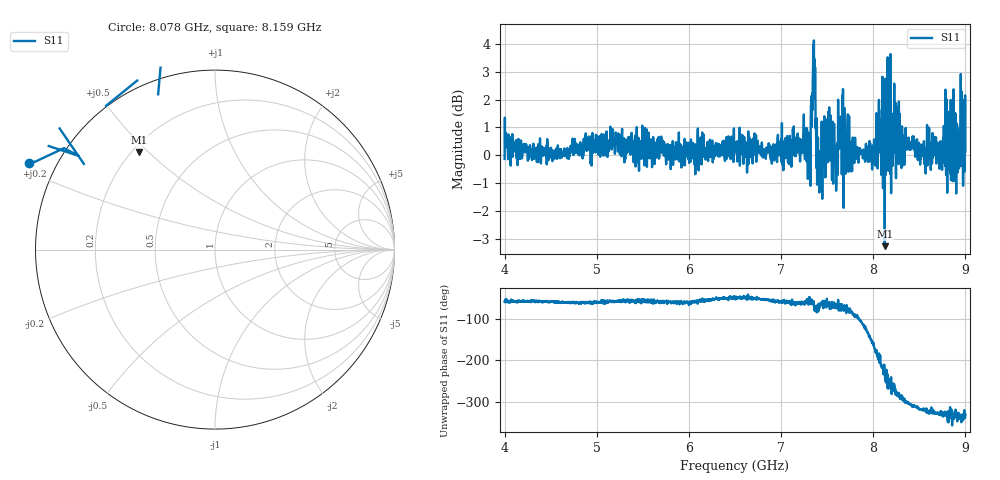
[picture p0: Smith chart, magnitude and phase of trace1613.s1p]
! Created with skrf 1.8.0 (http://scikit-rf.org).
# Hz S RI R 50.0
!freq ReS11 ImS11
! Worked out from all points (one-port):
!   1601 points, 4 GHz to 9 GHz, reference 50 ohm
!   lowest |S11| = -3.3 dB at 8.125 GHz (marker M1), VSWR 5.37, Z = 11.4 + j23.4 ohm
!   |S11| at or under -10 dB: nowhere
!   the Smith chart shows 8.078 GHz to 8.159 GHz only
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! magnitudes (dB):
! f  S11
! 4 GHz  -0.1
! 4.625 GHz  -0.1
! 5.25 GHz  0.0
! 5.875 GHz  0.4
! 6.5 GHz  0.5
! 7.038 GHz  0.3
! 7.125 GHz  0.6
! 7.294 GHz  0.1
! 7.316 GHz  0.4
! 7.347 GHz  3.2
! 7.362 GHz  3.5
! 7.409 GHz  -0.8
! 7.512 GHz  1.6
! 7.591 GHz  0.1
! 7.65 GHz  1.2
! 7.75 GHz  0.2
! 8 GHz  0.1
! 8.097 GHz  0.9
! 8.125 GHz  -3.3
! 8.166 GHz  2.4
! 8.197 GHz  0.9
! 8.312 GHz  1.0
! 8.375 GHz  0.6
! 8.722 GHz  0.1
! 8.834 GHz  1.5
! 8.919 GHz  -0.5
! 8.959 GHz  2.3
! 9 GHz  0.1
